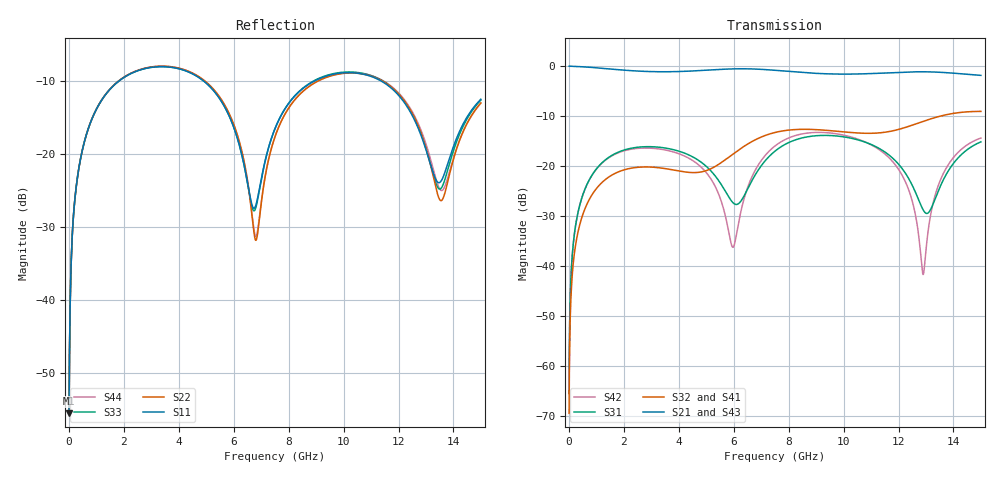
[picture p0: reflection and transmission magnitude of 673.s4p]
! Created with skrf 1.8.0 (http://scikit-rf.org).
# GHz S RI R 50.0
!freq ReS11 ImS11 ReS12 ImS12 ReS13 ImS13
! ReS14 ImS14
! ReS21 ImS21 ReS22 ImS22 ReS23 ImS23
! ReS24 ImS24
! ReS31 ImS31 ReS32 ImS32 ReS33 ImS33
! ReS34 ImS34
! ReS41 ImS41 ReS42 ImS42 ReS43 ImS43
! ReS44 ImS44
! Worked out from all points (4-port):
!   2499 points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, 5 MHz to 15 GHz, reference 50 ohm
!   strongest paths, dB at 5 MHz, 3.476 GHz, 7.19 GHz, 11.1 GHz, 15 GHz:
!     S21: 0.0, -1.1, -0.7, -1.5, -1.9
!     S43: 0.0, -1.1, -0.7, -1.5, -1.8
!     S32: -69.5, -20.5, -13.8, -13.4, -9.1
!     S41: -69.5, -20.4, -13.8, -13.4, -9.1
!     S31: -65.5, -16.4, -18.7, -15.9, -15.2
!     S42: -65.5, -16.8, -17.6, -16.0, -14.4
!   lowest |S11| = -55.5 dB at 5 MHz (marker M1), VSWR 1.00, Z = 50.1 + j0.101 ohm
!   |S11| at or under -10 dB: start of sweep to 1.84 GHz; 4.882 GHz to 8.969 GHz (4.088 GHz wide, 59 % of centre); 11.34 GHz to end of sweep
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0.005  0.00133 0.00101  0.9986 -0.00259  6.59e-05 0.000526  -6.4e-05 -0.000329
       0.9986 -0.00259  0.00133 0.00101  -6.4e-05 -0.000329  6.58e-05 0.000526
       6.59e-05 0.000526  -6.4e-05 -0.000329  0.00133 0.00101  0.9986 -0.00259
       -6.4e-05 -0.000329  6.58e-05 0.000526  0.9986 -0.00259  0.00133 0.00101
0.3626511  0.0211 0.0773  0.971 -0.187  0.00998 0.0364  -0.00809 -0.0226
           0.971 -0.187  0.0211 0.0773  -0.00809 -0.0226  0.00947 0.0365
           0.00998 0.0364  -0.00809 -0.0226  0.0211 0.0773  0.971 -0.187
           -0.00809 -0.0226  0.00947 0.0365  0.971 -0.187  0.0211 0.0773
1.825761  0.2542 0.1856  0.5808 -0.7121  0.125 0.0604  -0.0874 -0.0113
          0.5808 -0.7121  0.2565 0.1842  -0.0873 -0.0114  0.1179 0.0693
          0.125 0.0604  -0.0873 -0.0114  0.2543 0.1855  0.5808 -0.7121
          -0.0874 -0.0113  0.1179 0.0693  0.5808 -0.7121  0.2565 0.1842
6.709045  0.0419 -0.00766  -0.9328 -0.08  -0.0286 0.0696  -0.0103 0.1782
          -0.9328 -0.08  0.0247 -0.0198  -0.0131 0.1781  0.0274 0.0783
          -0.0286 0.0696  -0.0131 0.1781  0.0402 -0.00768  -0.9328 -0.0797
          -0.0103 0.1782  0.0274 0.0783  -0.9328 -0.0797  0.0263 -0.02
11.05461  0.3164 -0.1088  0.2032 0.8181  0.1179 -0.1112  0.1836 -0.1112
          0.2032 0.8181  0.3192 -0.1076  0.185 -0.1051  0.1234 -0.1022
          0.1179 -0.1112  0.185 -0.1051  0.3201 -0.1123  0.2034 0.8166
          0.1836 -0.1112  0.1234 -0.1022  0.2034 0.8166  0.3223 -0.1067
12.89912  0.085 -0.0867  0.7829 0.3962  -0.0331 -0.015  0.1144 -0.2555
          0.7829 0.3962  0.0764 -0.0999  0.1234 -0.2513  -0.00822 -0.00011
          -0.0331 -0.015  0.1234 -0.2513  0.0815 -0.0937  0.7823 0.3958
          0.1144 -0.2555  -0.00822 -0.00011  0.7823 0.3958  0.0842 -0.102
15  0.1963 0.1301  0.7015 -0.4006  0.1533 0.0835  -0.2231 -0.2723
    0.7015 -0.4006  0.1747 0.1374  -0.214 -0.2798  0.1719 0.0825
    0.1533 0.0835  -0.214 -0.2798  0.1905 0.1335  0.7008 -0.4026
    -0.2231 -0.2723  0.1719 0.0825  0.7008 -0.4026  0.1794 0.1292
